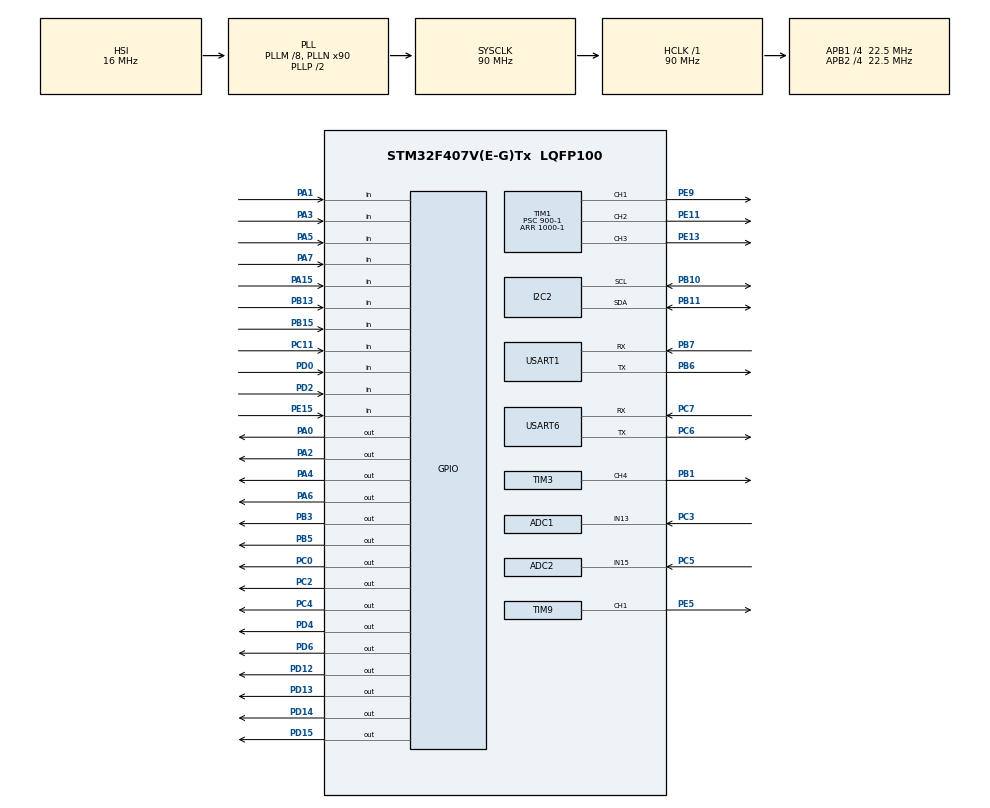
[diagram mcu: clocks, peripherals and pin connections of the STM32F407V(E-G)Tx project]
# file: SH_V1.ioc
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ADC1.Channel-0\#ChannelRegularConversion=ADC_CHANNEL_13
ADC1.NbrOfConversionFlag=1
ADC1.Rank-0\#ChannelRegularConversion=1
ADC1.SamplingTime-0\#ChannelRegularConversion=ADC_SAMPLETIME_3CYCLES
ADC1.master=1
ADC2.Channel-0\#ChannelRegularConversion=ADC_CHANNEL_15
ADC2.NbrOfConversionFlag=1
ADC2.Rank-0\#ChannelRegularConversion=1
ADC2.SamplingTime-0\#ChannelRegularConversion=ADC_SAMPLETIME_3CYCLES
FREERTOS.Tasks01=defaultTask,24,256,StartDefaultTask,Default,NULL,Dynamic,NULL,NULL;myTask02,10,128,StartTask02Function,Default,NULL,Dynamic,NULL,NULL;myTask03,9,128,StartTask03Function,Default,NULL,Dynamic,NULL,NULL;myTask04,8,128,StartTask04Function,Default,NULL,Dynamic,NULL,NULL;myTask05,8,128,StartTask05Function,Default,NULL,Dynamic,NULL,NULL;myTask06,8,128,StartTask06Function,Default,NULL,Dynamic,NULL,NULL
IWDG.Prescaler=IWDG_PRESCALER_64
IWDG.Reload=1499
Mcu.Family=STM32F4
Mcu.Name=STM32F407V(E-G)Tx
Mcu.Package=LQFP100
NVIC.PriorityGroup=NVIC_PRIORITYGROUP_4
NVIC.TIM1_UP_TIM10_IRQn=true\:0\:0\:false\:false\:true\:false\:false\:true
NVIC.TimeBase=TIM1_UP_TIM10_IRQn
NVIC.TimeBaseIP=TIM10
NVIC.USART1_IRQn=true\:8\:0\:true\:false\:true\:true\:true\:true
NVIC.USART6_IRQn=true\:5\:0\:true\:false\:true\:true\:true\:true
PA0-WKUP.Signal=GPIO_Output
PA1.Signal=GPIO_Input
PA13.Mode=Serial_Wire
PA13.Signal=SYS_JTMS-SWDIO
PA14.Mode=Serial_Wire
PA14.Signal=SYS_JTCK-SWCLK
PA15.GPIO_PuPd=GPIO_PULLUP
PA15.Signal=GPIO_Input
PA2.Signal=GPIO_Output
PA3.Signal=GPIO_Input
PA4.Signal=GPIO_Output
PA5.Signal=GPIO_Input
PA6.Signal=GPIO_Output
PA7.Signal=GPIO_Input
PB1.Signal=S_TIM3_CH4
PB10.Mode=I2C
PB10.Signal=I2C2_SCL
PB11.Mode=I2C
PB11.Signal=I2C2_SDA
PB13.Signal=GPIO_Input
PB15.Signal=GPIO_Input
PB3.Signal=GPIO_Output
PB5.Signal=GPIO_Output
PB6.Mode=Asynchronous
PB6.Signal=USART1_TX
PB7.Mode=Asynchronous
PB7.Signal=USART1_RX
PC0.Signal=GPIO_Output
PC11.GPIO_PuPd=GPIO_PULLUP
PC11.Signal=GPIO_Input
PC2.Signal=GPIO_Output
PC3.Signal=ADCx_IN13
PC4.Signal=GPIO_Output
PC5.Signal=ADCx_IN15
PC6.GPIO_PuPd=GPIO_PULLUP
PC6.Mode=Asynchronous
PC6.Signal=USART6_TX
PC7.GPIO_PuPd=GPIO_PULLUP
PC7.Mode=Asynchronous
PC7.Signal=USART6_RX
PD0.GPIO_PuPd=GPIO_PULLUP
PD0.Signal=GPIO_Input
PD12.Signal=GPIO_Output
PD13.Signal=GPIO_Output
PD14.Signal=GPIO_Output
PD15.Signal=GPIO_Output
PD2.GPIO_PuPd=GPIO_PULLUP
PD2.Signal=GPIO_Input
PD4.Signal=GPIO_Output
PD6.Signal=GPIO_Output
PE11.Signal=S_TIM1_CH2
PE13.Signal=S_TIM1_CH3
PE15.Signal=GPIO_Input
PE5.Signal=S_TIM9_CH1
PE9.Signal=S_TIM1_CH1
PH0-OSC_IN.Mode=HSE-External-Oscillator
PH0-OSC_IN.Signal=RCC_OSC_IN
PH1-OSC_OUT.Mode=HSE-External-Oscillator
PH1-OSC_OUT.Signal=RCC_OSC_OUT
ProjectManager.HeapSize=0x200
ProjectManager.StackSize=0x400
ProjectManager.TargetToolchain=MDK-ARM V5.27
RCC.48MHZClocksFreq_Value=45000000
RCC.AHBFreq_Value=90000000
RCC.APB1CLKDivider=RCC_HCLK_DIV4
RCC.APB1Freq_Value=22500000
RCC.APB1TimFreq_Value=45000000
RCC.APB2CLKDivider=RCC_HCLK_DIV4
RCC.APB2Freq_Value=22500000
RCC.APB2TimFreq_Value=45000000
RCC.CortexFreq_Value=90000000
RCC.HCLKFreq_Value=90000000
RCC.HSE_VALUE=25000000
RCC.HSI_VALUE=16000000
RCC.LSE_VALUE=32768
RCC.PLLM=8
RCC.PLLN=90
RCC.SYSCLKFreq_VALUE=90000000
RCC.SYSCLKSource=RCC_SYSCLKSOURCE_PLLCLK
RCC.VCOOutputFreq_Value=180000000
SH.ADCx_IN13.0=ADC1_IN13,IN13
SH.ADCx_IN15.0=ADC2_IN15,IN15
SH.S_TIM1_CH1.0=TIM1_CH1,PWM Generation1 CH1
SH.S_TIM1_CH2.0=TIM1_CH2,PWM Generation2 CH2
SH.S_TIM1_CH3.0=TIM1_CH3,PWM Generation3 CH3
SH.S_TIM3_CH4.0=TIM3_CH4,PWM Generation4 CH4
SH.S_TIM9_CH1.0=TIM9_CH1,PWM Generation1 CH1
TIM1.Channel-PWM\ Generation1\ CH1=TIM_CHANNEL_1
TIM1.Channel-PWM\ Generation2\ CH2=TIM_CHANNEL_2
TIM1.Channel-PWM\ Generation3\ CH3=TIM_CHANNEL_3
TIM1.Period=1000-1
TIM1.Prescaler=900-1
TIM3.Channel-PWM\ Generation4\ CH4=TIM_CHANNEL_4
TIM3.Period=1000-1
TIM3.Prescaler=900-1
TIM9.Channel-PWM\ Generation1\ CH1=TIM_CHANNEL_1
TIM9.Period=255-1
TIM9.Prescaler=692-1
USART1.VirtualMode=VM_ASYNC
USART6.VirtualMode=VM_ASYNC
VP_FREERTOS_VS_CMSIS_V2.Mode=CMSIS_V2
VP_IWDG_VS_IWDG.Mode=IWDG_Activate
VP_SYS_VS_tim10.Mode=TIM10
board=custom

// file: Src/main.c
/* USER CODE BEGIN Header */
/**
  ******************************************************************************
  * @file           : main.c
  * @brief          : Main program body
  ******************************************************************************
  * @attention
  *
  * <h2><center>&copy; Copyright (c) 2021 STMicroelectronics.
  * All rights reserved.</center></h2>
  *
  * This software component is licensed by ST under BSD 3-Clause license,
  * the "License"; You may not use this file except in compliance with the
  * License. You may obtain a copy of the License at:
  *                        opensource.org/licenses/BSD-3-Clause
  *
  ******************************************************************************
  */
/* USER CODE END Header */

#include "main.h"
#include "cmsis_os.h"

/* USER CODE BEGIN Includes */
#include "string.h"
#include "stdio.h"
#include "stdbool.h"
#include "math.h"

#include "dht11.h"
#include "lcd_i2c.h"
#include "music.h"
#include "servo.h"
#include "hall.h"
/* USER CODE END Includes */

/* USER CODE BEGIN PD */
#define ON GPIO_PIN_SET
#define OFF GPIO_PIN_RESET

#define BATHROOM_LIGHT_PORT			GPIOC
#define BATHROOM_LIGHT_PIN 			GPIO_PIN_4

#define KITCHEN_LIGHT_PORT			GPIOA
#define KITCHEN_LIGHT_PIN 			GPIO_PIN_2

#define KITCHEN_FAN_PORT				GPIOC
#define KITCHEN_FAN_PIN 				GPIO_PIN_0

#define KITCHEN_WINDOW_PIN 			1

#define BEDROOM_LIGHT_PORT			GPIOA
#define BEDROOM_LIGHT_PIN 			GPIO_PIN_4

#define BEDROOM_FAN_PORT				GPIOC
#define BEDROOM_FAN_PIN 				GPIO_PIN_2

#define BEDROOM_WINDOW_PIN 			2

#define LIVINGROOM_LIGHT_PORT		GPIOA
#define LIVINGROOM_LIGHT_PIN 		GPIO_PIN_6

#define LIVINGROOM_GARAGELIGHT_PORT		GPIOA
#define LIVINGROOM_GARAGELIGHT_PIN 		GPIO_PIN_0

#define DRYINGPOLE_PIN		3
#define GATE_PIN					4

#define GAS_THRESH 10

#define txBuf_size 30
#define rxBuf_size 50

#define R1_PORT GPIOB
#define R1_PIN 	GPIO_PIN_5

#define R2_PORT GPIOB
#define R2_PIN 	GPIO_PIN_3

#define R3_PORT GPIOD
#define R3_PIN 	GPIO_PIN_6

#define R4_PORT GPIOD
#define R4_PIN 	GPIO_PIN_4

#define C1_PORT GPIOD
#define C1_PIN 	GPIO_PIN_2

#define C2_PORT GPIOD
#define C2_PIN 	GPIO_PIN_0

#define C3_PORT GPIOC
#define C3_PIN 	GPIO_PIN_11

#define C4_PORT GPIOA
#define C4_PIN 	GPIO_PIN_15

char rxBuf[rxBuf_size];

char rxBuf_receive[2];
uint16_t rx_Index = 0;
char temp_receive[rxBuf_size];

char data_GAS_char[12];
float gas_in_ppm = 0;

char data_PIR_char[6] ;
char pir_char[6];
bool pir_bool_old = 0;

char data_RAIN_char[7];
char rain_char[7];
bool rain_bool_old = 0;

char data_FLAME_char[8];
char flame_char[8];
bool flame_bool_old = 0;

unsigned char data_dht11[4];
char data_dht11_char[15];

char debug_char[10];
char function_key;
char password_key;
char password_setup[8] = "12345678";
char password_input[8];
char password_new[8];
char password_new_confirm[8];
char password_update_firebase[18];
char password_receive[8];
void change_password();

int i = 0;

uint32_t current_value_main = 0;
char data_HALL_char[20];

long timeout_to_send_gasvalue		= 0;
long timeout_to_send_dht11value = 0;
long timeout_to_send_flamevalue = 0;
long timeout_to_send_rainvalue 	= 0;
long timeout_to_send_pirvalue 	= 0;
long timeout_to_send_hallvalue 	= 0;

/* USER CODE END PD */

ADC_HandleTypeDef hadc1;
ADC_HandleTypeDef hadc2;

I2C_HandleTypeDef hi2c2;

IWDG_HandleTypeDef hiwdg;

TIM_HandleTypeDef htim1;
TIM_HandleTypeDef htim3;
TIM_HandleTypeDef htim9;

UART_HandleTypeDef huart1;
UART_HandleTypeDef huart6;

/* Definitions for defaultTask */
osThreadId_t defaultTaskHandle;
const osThreadAttr_t defaultTask_attributes = {
  .name = "defaultTask",
  .priority = (osPriority_t) osPriorityNormal,
  .stack_size = 256 * 4
};
/* Definitions for myTask02 */
osThreadId_t myTask02Handle;
const osThreadAttr_t myTask02_attributes = {
  .name = "myTask02",
  .priority = (osPriority_t) osPriorityLow2,
  .stack_size = 128 * 4
};
/* Definitions for myTask03 */
osThreadId_t myTask03Handle;
const osThreadAttr_t myTask03_attributes = {
  .name = "myTask03",
  .priority = (osPriority_t) osPriorityLow1,
  .stack_size = 128 * 4
};
/* Definitions for myTask04 */
osThreadId_t myTask04Handle;
const osThreadAttr_t myTask04_attributes = {
  .name = "myTask04",
  .priority = (osPriority_t) osPriorityLow,
  .stack_size = 128 * 4
};
/* Definitions for myTask05 */
osThreadId_t myTask05Handle;
const osThreadAttr_t myTask05_attributes = {
  .name = "myTask05",
  .priority = (osPriority_t) osPriorityLow,
  .stack_size = 128 * 4
};
/* Definitions for myTask06 */
osThreadId_t myTask06Handle;
const osThreadAttr_t myTask06_attributes = {
  .name = "myTask06",
  .priority = (osPriority_t) osPriorityLow,
  .stack_size = 128 * 4
};

void SystemClock_Config(void);
static void MX_GPIO_Init(void);
static void MX_ADC1_Init(void);
static void MX_ADC2_Init(void);
static void MX_I2C2_Init(void);
static void MX_TIM1_Init(void);
static void MX_TIM3_Init(void);
static void MX_TIM9_Init(void);
static void MX_USART6_UART_Init(void);
static void MX_USART1_UART_Init(void);
static void MX_IWDG_Init(void);
void StartDefaultTask(void *argument);
void StartTask02Function(void *argument);
void StartTask03Function(void *argument);
void StartTask04Function(void *argument);
void StartTask05Function(void *argument);
void StartTask06Function(void *argument);

/* USER CODE BEGIN 0 */
void serial_send_cmd(char data[]){
		char line[txBuf_size];
		snprintf(line, sizeof(line), "%s\r\n", data);
		HAL_UART_Transmit(&huart1, (uint8_t*)line, strlen(line) , 100);
}

char* serial_read(){
	strcpy(temp_receive, rxBuf);
	return temp_receive;
}

void control_light	(char room[], bool state){
	if(strcmp(room,"Bathroom") == 0){
		if(state == ON){
			HAL_GPIO_WritePin(BATHROOM_LIGHT_PORT, BATHROOM_LIGHT_PIN, ON);
		}else if(state == OFF){
			HAL_GPIO_WritePin(BATHROOM_LIGHT_PORT, BATHROOM_LIGHT_PIN, OFF);
		}
	}
	if(strcmp(room,"Kitchen") == 0){
		if(state == ON){
			HAL_GPIO_WritePin(KITCHEN_LIGHT_PORT, KITCHEN_LIGHT_PIN, ON);
		}else if(state == OFF){
			HAL_GPIO_WritePin(KITCHEN_LIGHT_PORT, KITCHEN_LIGHT_PIN, OFF);
		}
	}
	if(strcmp(room,"Bedroom") == 0){
		if(state == ON){
			HAL_GPIO_WritePin(BEDROOM_LIGHT_PORT, BEDROOM_LIGHT_PIN, ON);
		}else if(state == OFF){
			HAL_GPIO_WritePin(BEDROOM_LIGHT_PORT, BEDROOM_LIGHT_PIN, OFF);
		}
	}
	if(strcmp(room,"Livingroom") == 0){
		if(state == ON){
			HAL_GPIO_WritePin(LIVINGROOM_LIGHT_PORT, LIVINGROOM_LIGHT_PIN, ON);
		}else if(state == OFF){
			HAL_GPIO_WritePin(LIVINGROOM_LIGHT_PORT, LIVINGROOM_LIGHT_PIN, OFF);
		}
	}
	if(strcmp(room,"Garage") == 0){
		if(state == ON){
			HAL_GPIO_WritePin(LIVINGROOM_GARAGELIGHT_PORT, LIVINGROOM_GARAGELIGHT_PIN, ON);
		}else if(state == OFF){
			HAL_GPIO_WritePin(LIVINGROOM_GARAGELIGHT_PORT, LIVINGROOM_GARAGELIGHT_PIN, OFF);
		}
	}
}

void control_fan		(char room[], bool state){
	if(strcmp(room,"Bedroom") == 0){
		if(state == ON){
			HAL_GPIO_WritePin(BEDROOM_FAN_PORT, BEDROOM_FAN_PIN, ON);
		}else if(state == OFF){
			HAL_GPIO_WritePin(BEDROOM_FAN_PORT, BEDROOM_FAN_PIN, OFF);
		}
	}
	else if(strcmp(room,"Kitchen") == 0){
		if(state == ON){
			HAL_GPIO_WritePin(KITCHEN_FAN_PORT, KITCHEN_FAN_PIN, ON);
		}else if(state == OFF){
			HAL_GPIO_WritePin(KITCHEN_FAN_PORT, KITCHEN_FAN_PIN, OFF);
		}
	}
}

void control_window	(char room[], bool state){
	if(strcmp(room,"Bedroom") == 0){
		if(state == ON){
			servo_position(BEDROOM_WINDOW_PIN, 90);
			HAL_Delay(500);
		}else if(state == OFF){
			servo_position(BEDROOM_WINDOW_PIN, 0);
			HAL_Delay(500);
		}
	}
	else if(strcmp(room,"Kitchen") == 0){
		if(state == ON){
			servo_position(KITCHEN_WINDOW_PIN, 90);
		}else if(state == OFF){
			servo_position(KITCHEN_WINDOW_PIN, 0);
		}
	}
}

void control_homescreen(char device[], bool state){
	if(strcmp(device,"bell") == 0){
		if(state == ON){
			music_play(500);
		}else if(state == OFF){
			music_stop();
		}
	}
	if(strcmp(device,"dryingpole") == 0){
		if(state == ON){
			servo_position(DRYINGPOLE_PIN, 90);
		}else if(state == OFF){
			servo_position(DRYINGPOLE_PIN, 0);
		}
	}
	if(strcmp(device,"gate") == 0){
		if(state == ON){
			servo_position(GATE_PIN, 90);
		}else if(state == OFF){
			servo_position(GATE_PIN, 0);
		}
	}
	if(strcmp(device,"smartlight") == 0){
		if(state == ON){
			control_light("Livingroom",ON);
		}else if(state == OFF){
			control_light("Livingroom",OFF);
		}
	}

}

void control_home(){
	char temp[2];
	serial_read();

	if(strncmp(temp_receive,"Bathroom/light",14) == 0){
		temp[0] = temp_receive[15];
		if(temp[0] == 'T'){
			control_light("Bathroom",ON);
		}else if(temp[0] == 'F'){
			control_light("Bathroom", OFF);
		}
	}
	if(strncmp(temp_receive,"Bedroom/light",13) == 0){
		temp[0] = temp_receive[14];
		if(temp[0] == 'T'){
			control_light("Bedroom",ON);
		}else if(temp[0] == 'F'){
			control_light("Bedroom", OFF);
		}
	}
	if(strncmp(temp_receive,"Bedroom/window",14) == 0){
		temp[0] = temp_receive[15];
		if(temp[0] == 'T'){
			control_window("Bedroom",ON);
		}else if(temp[0] == 'F'){
			control_window("Bedroom",OFF);
		}
	}
	if(strncmp(temp_receive,"Bedroom/fan",11) == 0){
		temp[0] = temp_receive[12];
		if(temp[0] == 'T'){
			control_fan("Bedroom",ON);
		}else if(temp[0] == 'F'){
			control_fan("Bedroom",OFF);
		}
	}
	if(strncmp(temp_receive,"Homescreen/bell",15) == 0){
		temp[0] = temp_receive[16];
		if(temp[0] == 'T'){
			control_homescreen("bell",ON);
		}else if(temp[0] == 'F'){
			control_homescreen("bell",OFF);
		}
	}
	if(strncmp(temp_receive,"Homescreen/dryingpole",21) == 0){
		temp[0] = temp_receive[22];
		if(temp[0] == 'T'){
			control_homescreen("dryingpole",ON);
			strcpy(rxBuf,"");
		}else if(temp[0] == 'F'){
			control_homescreen("dryingpole",OFF);
			strcpy(rxBuf,"");
		}
	}
	if(strncmp(temp_receive,"Homescreen/gate",15) == 0){
		temp[0] = temp_receive[16];
		if(temp[0] == 'T'){
			control_homescreen("gate",ON);
		}else if(temp[0] == 'F'){
			control_homescreen("gate",OFF);
		}
	}
	if(strncmp(temp_receive,"Homescreen/smartlight",21) == 0){
		temp[0] = temp_receive[22];
		if(temp[0] == 'T'){
			control_homescreen("smartlight",ON);

			strcpy(rxBuf,"");
		}else if(temp[0] == 'F'){
			control_homescreen("smartlight",OFF);

			strcpy(rxBuf,"");
		}
	}
	if(strncmp(temp_receive,"Kitchen/fan",11) == 0){
		temp[0] = temp_receive[12];
		if(temp[0] == 'T'){
			control_fan("Kitchen",ON);
		}else if(temp[0] == 'F'){
			control_fan("Kitchen",OFF);
		}
	}
	if(strncmp(temp_receive,"Kitchen/light",13) == 0){
		temp[0] = temp_receive[14];
		if(temp[0] == 'T'){
			control_light("Kitchen",ON);
		}else if(temp[0] == 'F'){
			control_light("Kitchen",OFF);
		}
	}
	if(strncmp(temp_receive,"Kitchen/window",14) == 0){
		temp[0] = temp_receive[15];
		if(temp[0] == 'T'){
			control_window("Kitchen",ON);
		}else if(temp[0] == 'F'){
			control_window("Kitchen",OFF);
		}
	}
	if(strncmp(temp_receive,"Livingroom/garagelight",22) == 0){
		temp[0] = temp_receive[23];
		if(temp[0] == 'T'){
			control_light("Garage",ON);
		}else if(temp[0] == 'F'){
			control_light("Garage",OFF);
		}
	}
}

void HAL_UART_RxCpltCallback(UART_HandleTypeDef *UartHandle){
  /* Prevent unused argument(s) compilation warning */
	if(UartHandle->Instance==USART6){
		if (rx_Index == 0){
			for(int i = 0; i < rxBuf_size; i++){
				rxBuf[i] = 0;
			}
			//strcpy(rxBuf,"");
		}
		if (rxBuf_receive[0] != '\n'){
			rxBuf[rx_Index]=rxBuf_receive[0];
			rx_Index++;
		}
		else{
			strcpy(temp_receive,rxBuf);
			HAL_GPIO_TogglePin(GPIOD,GPIO_PIN_12);
			rx_Index = 0;
		}
	}
  HAL_UART_Receive_IT(&huart6 , (uint8_t*)rxBuf_receive, 1);
}

/***********************FUNCTION FOR READING SENSOR*******************/
float read_gas_ppm(){
	float gas_value_inVolts = 0.0;
	double ppm_in_log;
	float ppm;

	HAL_ADC_Start(&hadc1);
	HAL_Delay(100);
	gas_value_inVolts = HAL_ADC_GetValue(&hadc1);
	HAL_ADC_Stop(&hadc1);
	gas_value_inVolts = 5*gas_value_inVolts/4095;

	ppm_in_log = (log10(((5 - gas_value_inVolts)/gas_value_inVolts)/0.1260) - 1.2908)/(-0.461);

	ppm = pow(10,ppm_in_log);

	return ppm;
}

int read_HALL(){

	uint16_t HALL_value;

	HAL_ADC_Start(&hadc2);
	HAL_Delay(100);
	HALL_value = HAL_ADC_GetValue(&hadc2);
	HAL_ADC_Stop(&hadc2);

	return HALL_value;

}
char* read_rain_char(){
	bool rain_bool;
	rain_bool = !HAL_GPIO_ReadPin(GPIOA, GPIO_PIN_1);
	snprintf(rain_char,sizeof(rain_char),"RAIN %d",rain_bool);

  return rain_char; //IT'S CAN RETURN GLOBAL VARIABLE ONLY
}
char* read_pir_char(){
	bool pir_bool;
	pir_bool = HAL_GPIO_ReadPin(GPIOA, GPIO_PIN_7);
	snprintf(pir_char,sizeof(pir_char),"PIR %d",pir_bool);

  return pir_char; //IT'S CAN RETURN GLOBAL VARIABLE ONLY
}
char* read_flame_char(){
	bool flame_bool;
	flame_bool = !HAL_GPIO_ReadPin(GPIOA, GPIO_PIN_3);
	snprintf(flame_char,sizeof(flame_char),"FLAME %d",flame_bool);

  return flame_char; //IT'S CAN RETURN GLOBAL VARIABLE ONLY
}
char read_keypad (void){

	/* Make ROW 1 LOW and all other ROWs HIGH */
	HAL_GPIO_WritePin (R1_PORT, R1_PIN, GPIO_PIN_RESET);  //Pull the R1 low
	HAL_GPIO_WritePin (R2_PORT, R2_PIN, GPIO_PIN_SET);  // Pull the R2 High
	HAL_GPIO_WritePin (R3_PORT, R3_PIN, GPIO_PIN_SET);  // Pull the R3 High
	HAL_GPIO_WritePin (R4_PORT, R4_PIN, GPIO_PIN_SET);  // Pull the R4 High

	if (!(HAL_GPIO_ReadPin (C1_PORT, C1_PIN)))   // if the Col 1 is low
	{
		HAL_Delay(20);
		if (!(HAL_GPIO_ReadPin (C1_PORT, C1_PIN))){
			while (!(HAL_GPIO_ReadPin (C1_PORT, C1_PIN)));   // wait till the button is pressed
			return '1';
		}
	}

	if (!(HAL_GPIO_ReadPin (C2_PORT, C2_PIN)))   // if the Col 2 is low
	{
		while (!(HAL_GPIO_ReadPin (C2_PORT, C2_PIN)));   // wait till the button is pressed
		return '2';
	}

	if (!(HAL_GPIO_ReadPin (C3_PORT, C3_PIN)))   // if the Col 3 is low
	{
		while (!(HAL_GPIO_ReadPin (C3_PORT, C3_PIN)));   // wait till the button is pressed
		return '3';
	}

	if (!(HAL_GPIO_ReadPin (C4_PORT, C4_PIN)))   // if the Col 4 is low
	{
		while (!(HAL_GPIO_ReadPin (C4_PORT, C4_PIN)));   // wait till the button is pressed
		return 'A';
	}

	/* Make ROW 2 LOW and all other ROWs HIGH */
	HAL_GPIO_WritePin (R1_PORT, R1_PIN, GPIO_PIN_SET);  //Pull the R1 low
	HAL_GPIO_WritePin (R2_PORT, R2_PIN, GPIO_PIN_RESET);  // Pull the R2 High
	HAL_GPIO_WritePin (R3_PORT, R3_PIN, GPIO_PIN_SET);  // Pull the R3 High
	HAL_GPIO_WritePin (R4_PORT, R4_PIN, GPIO_PIN_SET);  // Pull the R4 High

	if (!(HAL_GPIO_ReadPin (C1_PORT, C1_PIN)))   // if the Col 1 is low
	{
		while (!(HAL_GPIO_ReadPin (C1_PORT, C1_PIN)));   // wait till the button is pressed
		return '4';
	}

	if (!(HAL_GPIO_ReadPin (C2_PORT, C2_PIN)))   // if the Col 2 is low
	{
		while (!(HAL_GPIO_ReadPin (C2_PORT, C2_PIN)));   // wait till the button is pressed
		return '5';
	}

	if (!(HAL_GPIO_ReadPin (C3_PORT, C3_PIN)))   // if the Col 3 is low
	{
		while (!(HAL_GPIO_ReadPin (C3_PORT, C3_PIN)));   // wait till the button is pressed
		return '6';
	}

	if (!(HAL_GPIO_ReadPin (C4_PORT, C4_PIN)))   // if the Col 4 is low
	{
		while (!(HAL_GPIO_ReadPin (C4_PORT, C4_PIN)));   // wait till the button is pressed
		return 'B';
	}

	/* Make ROW 3 LOW and all other ROWs HIGH */
	HAL_GPIO_WritePin (R1_PORT, R1_PIN, GPIO_PIN_SET);  //Pull the R1 low
	HAL_GPIO_WritePin (R2_PORT, R2_PIN, GPIO_PIN_SET);  // Pull the R2 High
	HAL_GPIO_WritePin (R3_PORT, R3_PIN, GPIO_PIN_RESET);  // Pull the R3 High
	HAL_GPIO_WritePin (R4_PORT, R4_PIN, GPIO_PIN_SET);  // Pull the R4 High

	if (!(HAL_GPIO_ReadPin (C1_PORT, C1_PIN)))   // if the Col 1 is low
	{
		while (!(HAL_GPIO_ReadPin (C1_PORT, C1_PIN)));   // wait till the button is pressed
		return '7';
	}

	if (!(HAL_GPIO_ReadPin (C2_PORT, C2_PIN)))   // if the Col 2 is low
	{
		while (!(HAL_GPIO_ReadPin (C2_PORT, C2_PIN)));   // wait till the button is pressed
		return '8';
	}

	if (!(HAL_GPIO_ReadPin (C3_PORT, C3_PIN)))   // if the Col 3 is low
	{
		while (!(HAL_GPIO_ReadPin (C3_PORT, C3_PIN)));   // wait till the button is pressed
		return '9';
	}

	if (!(HAL_GPIO_ReadPin (C4_PORT, C4_PIN)))   // if the Col 4 is low
	{
		while (!(HAL_GPIO_ReadPin (C4_PORT, C4_PIN)));   // wait till the button is pressed
		return 'C';
	}

	/* Make ROW 4 LOW and all other ROWs HIGH */
	HAL_GPIO_WritePin (R1_PORT, R1_PIN, GPIO_PIN_SET);  //Pull the R1 low
	HAL_GPIO_WritePin (R2_PORT, R2_PIN, GPIO_PIN_SET);  // Pull the R2 High
	HAL_GPIO_WritePin (R3_PORT, R3_PIN, GPIO_PIN_SET);  // Pull the R3 High
	HAL_GPIO_WritePin (R4_PORT, R4_PIN, GPIO_PIN_RESET);  // Pull the R4 High

	if (!(HAL_GPIO_ReadPin (C1_PORT, C1_PIN)))   // if the Col 1 is low
	{
		while (!(HAL_GPIO_ReadPin (C1_PORT, C1_PIN)));   // wait till the button is pressed
		return '*';
	}

	if (!(HAL_GPIO_ReadPin (C2_PORT, C2_PIN)))   // if the Col 2 is low
	{
		while (!(HAL_GPIO_ReadPin (C2_PORT, C2_PIN)));   // wait till the button is pressed
		return '0';
	}

	if (!(HAL_GPIO_ReadPin (C3_PORT, C3_PIN)))   // if the Col 3 is low
	{
		while (!(HAL_GPIO_ReadPin (C3_PORT, C3_PIN)));   // wait till the button is pressed
		return '#';
	}

	if (!(HAL_GPIO_ReadPin (C4_PORT, C4_PIN)))   // if the Col 4 is low
	{
		while (!(HAL_GPIO_ReadPin (C4_PORT, C4_PIN)));   // wait till the button is pressed
		return 'D';
	}
	return NULL;
}

void verify_password(){
	password_key = read_keypad();
	HAL_Delay(10);
	if(password_key == 'A'){
		LCD_Clear();
		LCD_SetCursor(2,1);
		LCD_Send_String("   ENTER PASSWORD   ",STR_NOSLIDE);
		LCD_SetCursor(3,6);
		i = 0;
		password_key = NULL;
	}
	if(password_key != 'A' && password_key != 'B'){
		if(password_key){
			password_input[i] = password_key;
			LCD_Send_String("*",STR_NOSLIDE);
			i++;
		}
	}
	if(i == 8){
		if(strncmp(password_input, password_setup, 8) == 0){
			LCD_Clear();
			LCD_SetCursor(2,4);
			LCD_Send_String("ACCESS GRANTED",STR_NOSLIDE);
			HAL_Delay(2000);
			servo_position(GATE_PIN,90);
			LCD_Clear();
			LCD_SetCursor(2,1);
			LCD_Send_String("   Good day Hieu!   ",STR_NOSLIDE);
			HAL_Delay(2000);
			LCD_SetCursor(3,6);
			i = 0;
		}
		else {
			LCD_Clear();
			LCD_SetCursor(2,4);
			LCD_Send_String("ACCESS DENIED!",STR_NOSLIDE);
			servo_position(GATE_PIN,0);
			HAL_Delay(2000);
			LCD_Clear();
			LCD_SetCursor(2,1);
			LCD_Send_String("   ENTER PASSWORD   ",STR_NOSLIDE);
			LCD_SetCursor(3,6);
			i = 0;
		}
	}
}

void change_password(){
	int j = 0;
	LCD_Clear();
	LCD_SetCursor(2,1);
	LCD_Send_String(" ENTER OLD PASSWORD ",STR_NOSLIDE);
	LCD_SetCursor(3,6);
	while( j < 8){
		char passwordkey_change =  read_keypad();
		HAL_Delay(10);
		if (passwordkey_change){
			password_input[j] = passwordkey_change;
			LCD_Send_String("*",STR_NOSLIDE);
			j++;
		}
		passwordkey_change = 0;
	}
	if(strncmp(password_input,password_setup,8) == 0){
		j = 0;
		LCD_Clear();
		LCD_SetCursor(2,1);
		LCD_Send_String(" ENTER NEW PASSWORD ",STR_NOSLIDE);
		LCD_SetCursor(3,6);
		while (j < 8){
			char passwordkey_change =  read_keypad();
			HAL_Delay(10);
			if(passwordkey_change){
				password_new[j] = passwordkey_change;
				LCD_Send_String("*",STR_NOSLIDE);
				j++;
			}
		}
		j = 0;
		LCD_Clear();
		LCD_SetCursor(2,1);
		LCD_Send_String("CONFIRM NEW PASSWORD",STR_NOSLIDE);
		LCD_SetCursor(3,6);
		while (j < 8){
			char passwordkey_change =  read_keypad();
			HAL_Delay(10);
			if(passwordkey_change){
				password_new_confirm[j] = passwordkey_change;
				LCD_Send_String("*",STR_NOSLIDE);
				j++;
			}
		}
		if(strncmp(password_new,password_new_confirm,8) == 0){
			strcpy(password_setup,password_new);

			snprintf(password_update_firebase,sizeof(password_update_firebase),"password %s",password_setup);
			serial_send_cmd(password_update_firebase);

			LCD_Clear();
			LCD_SetCursor(2,1);
			LCD_Send_String("  PASSWORD CHANGED  ",STR_NOSLIDE);
			HAL_Delay(2000);

			LCD_Clear();
			LCD_SetCursor(2,1);
			LCD_Send_String("   ENTER PASSWORD  ",STR_NOSLIDE);
			LCD_SetCursor(3,6);
		}else{
			LCD_Clear();
			LCD_SetCursor(2,1);
			LCD_Send_String("PASSWORD NOT MATCHED",STR_NOSLIDE);
			HAL_Delay(2000);

			LCD_Clear();
			LCD_SetCursor(2,1);
			LCD_Send_String("   ENTER PASSWORD  ",STR_NOSLIDE);
			LCD_SetCursor(3,6);
		}
	}
	else{
		LCD_Clear();
		LCD_SetCursor(2,1);
		LCD_Send_String("   WRONG PASSWORD   ",STR_NOSLIDE);
		LCD_SetCursor(3,1);
		LCD_Send_String("     TRY AGAIN!     ",STR_NOSLIDE);
		HAL_Delay(2000);

		LCD_Clear();
		LCD_SetCursor(2,1);
		LCD_Send_String("   ENTER PASSWORD  ",STR_NOSLIDE);
		LCD_SetCursor(3,6);
	}
}
void automation_home(){
	bool pir_state = HAL_GPIO_ReadPin(GPIOA, GPIO_PIN_7);
	bool rain_state = !HAL_GPIO_ReadPin(GPIOA, GPIO_PIN_1);
	//PIR Sensor
	if(pir_state == true){
		control_light("Livingroom",ON);
		HAL_Delay(100);
		serial_send_cmd("Homescreen smartlight ON");
		HAL_Delay(500);
	}

	//RAIN Sensor
	if (rain_state == true){
		servo_position(DRYINGPOLE_PIN, 0);
		serial_send_cmd("Homescreen dryingpole OFF");
		HAL_Delay(500);
	}

	//GAS and FLAME Sensor
	if ( (read_gas_ppm() > GAS_THRESH) || (!HAL_GPIO_ReadPin(GPIOA, GPIO_PIN_3)) ){
		music_play(850);
		control_window("Kitchen", ON);
	}else {
		music_stop();
	}

}

void receive_password_from_firebase(){
	serial_read();
	if(strncmp(temp_receive,"password",8) == 0){
		strncpy(password_setup,&temp_receive[9],8);
	}
}
/* USER CODE END 0 */

int main(void)
{

  /* MCU Configuration--------------------------------------------------------*/

  /* Reset of all peripherals, Initializes the Flash interface and the Systick. */
  HAL_Init();

  /* Configure the system clock */
  SystemClock_Config();

  /* Initialize all configured peripherals */
  MX_GPIO_Init();
  MX_ADC1_Init();
  MX_ADC2_Init();
  MX_I2C2_Init();
  MX_TIM1_Init();
  MX_TIM3_Init();
  MX_TIM9_Init();
  MX_USART6_UART_Init();
  MX_USART1_UART_Init();
  MX_IWDG_Init();
  /* USER CODE BEGIN 2 */
	music_Init();
	servo_Init();

	LCD_Init();
	LCD_i2cDeviceCheck();
	LCD_Clear();
	LCD_BackLight(LCD_BL_ON);
	LCD_SetCursor(1,1);
	LCD_Send_String("SMARTHOME PROJECT",STR_NOSLIDE);
	LCD_SetCursor(2,1);
	LCD_Send_String("SVTH: H.T.HIEU",STR_NOSLIDE);
	LCD_SetCursor(3,1);
	LCD_Send_String("MSSV: 1711277",STR_NOSLIDE);
	LCD_SetCursor(4,1);
	LCD_Send_String("GVHD: ThS. V.T.THONG",STR_NOSLIDE);

	HAL_UART_Receive_IT(&huart6 , (uint8_t*)rxBuf_receive, 1);

  /* USER CODE END 2 */

  /* Init scheduler */
  osKernelInitialize();

  /* Create the thread(s) */
  /* creation of defaultTask */
  defaultTaskHandle = osThreadNew(StartDefaultTask, NULL, &defaultTask_attributes);

  /* creation of myTask02 */
  myTask02Handle = osThreadNew(StartTask02Function, NULL, &myTask02_attributes);

  /* creation of myTask03 */
  myTask03Handle = osThreadNew(StartTask03Function, NULL, &myTask03_attributes);

  /* creation of myTask04 */
  myTask04Handle = osThreadNew(StartTask04Function, NULL, &myTask04_attributes);

  /* creation of myTask05 */
  myTask05Handle = osThreadNew(StartTask05Function, NULL, &myTask05_attributes);

  /* creation of myTask06 */
  myTask06Handle = osThreadNew(StartTask06Function, NULL, &myTask06_attributes);

  /* Start scheduler */
  osKernelStart();

  /* We should never get here as control is now taken by the scheduler */
  /* Infinite loop */
  while (1)
  {

  }
}

void SystemClock_Config(void)
{
  RCC_OscInitTypeDef RCC_OscInitStruct = {0};
  RCC_ClkInitTypeDef RCC_ClkInitStruct = {0};

  /** Configure the main internal regulator output voltage
  */
  __HAL_RCC_PWR_CLK_ENABLE();
  __HAL_PWR_VOLTAGESCALING_CONFIG(PWR_REGULATOR_VOLTAGE_SCALE1);
  /** Initializes the CPU, AHB and APB busses clocks
  */
  RCC_OscInitStruct.OscillatorType = RCC_OSCILLATORTYPE_HSI|RCC_OSCILLATORTYPE_LSI;
  RCC_OscInitStruct.HSIState = RCC_HSI_ON;
  RCC_OscInitStruct.HSICalibrationValue = RCC_HSICALIBRATION_DEFAULT;
  RCC_OscInitStruct.LSIState = RCC_LSI_ON;
  RCC_OscInitStruct.PLL.PLLState = RCC_PLL_ON;
  RCC_OscInitStruct.PLL.PLLSource = RCC_PLLSOURCE_HSI;
  RCC_OscInitStruct.PLL.PLLM = 8;
  RCC_OscInitStruct.PLL.PLLN = 90;
  RCC_OscInitStruct.PLL.PLLP = RCC_PLLP_DIV2;
  RCC_OscInitStruct.PLL.PLLQ = 4;
  if (HAL_RCC_OscConfig(&RCC_OscInitStruct) != HAL_OK)
  {
    Error_Handler();
  }
  /** Initializes the CPU, AHB and APB busses clocks
  */
  RCC_ClkInitStruct.ClockType = RCC_CLOCKTYPE_HCLK|RCC_CLOCKTYPE_SYSCLK
                              |RCC_CLOCKTYPE_PCLK1|RCC_CLOCKTYPE_PCLK2;
  RCC_ClkInitStruct.SYSCLKSource = RCC_SYSCLKSOURCE_PLLCLK;
  RCC_ClkInitStruct.AHBCLKDivider = RCC_SYSCLK_DIV1;
  RCC_ClkInitStruct.APB1CLKDivider = RCC_HCLK_DIV4;
  RCC_ClkInitStruct.APB2CLKDivider = RCC_HCLK_DIV4;

  if (HAL_RCC_ClockConfig(&RCC_ClkInitStruct, FLASH_LATENCY_2) != HAL_OK)
  {
    Error_Handler();
  }
}

static void MX_ADC1_Init(void)
{

  ADC_ChannelConfTypeDef sConfig = {0};

  /** Configure the global features of the ADC (Clock, Resolution, Data Alignment and number of conversion)
  */
  hadc1.Instance = ADC1;
  hadc1.Init.ClockPrescaler = ADC_CLOCK_SYNC_PCLK_DIV2;
  hadc1.Init.Resolution = ADC_RESOLUTION_12B;
  hadc1.Init.ScanConvMode = DISABLE;
  hadc1.Init.ContinuousConvMode = DISABLE;
  hadc1.Init.DiscontinuousConvMode = DISABLE;
  hadc1.Init.ExternalTrigConvEdge = ADC_EXTERNALTRIGCONVEDGE_NONE;
  hadc1.Init.ExternalTrigConv = ADC_SOFTWARE_START;
  hadc1.Init.DataAlign = ADC_DATAALIGN_RIGHT;
  hadc1.Init.NbrOfConversion = 1;
  hadc1.Init.DMAContinuousRequests = DISABLE;
  hadc1.Init.EOCSelection = ADC_EOC_SINGLE_CONV;
  if (HAL_ADC_Init(&hadc1) != HAL_OK)
  {
    Error_Handler();
  }
  /** Configure for the selected ADC regular channel its corresponding rank in the sequencer and its sample time.
  */
  sConfig.Channel = ADC_CHANNEL_13;
  sConfig.Rank = 1;
  sConfig.SamplingTime = ADC_SAMPLETIME_3CYCLES;
  if (HAL_ADC_ConfigChannel(&hadc1, &sConfig) != HAL_OK)
  {
    Error_Handler();
  }

}

static void MX_ADC2_Init(void)
{

  ADC_ChannelConfTypeDef sConfig = {0};

  /** Configure the global features of the ADC (Clock, Resolution, Data Alignment and number of conversion)
  */
  hadc2.Instance = ADC2;
  hadc2.Init.ClockPrescaler = ADC_CLOCK_SYNC_PCLK_DIV2;
  hadc2.Init.Resolution = ADC_RESOLUTION_12B;
  hadc2.Init.ScanConvMode = DISABLE;
  hadc2.Init.ContinuousConvMode = DISABLE;
  hadc2.Init.DiscontinuousConvMode = DISABLE;
  hadc2.Init.ExternalTrigConvEdge = ADC_EXTERNALTRIGCONVEDGE_NONE;
  hadc2.Init.ExternalTrigConv = ADC_SOFTWARE_START;
  hadc2.Init.DataAlign = ADC_DATAALIGN_RIGHT;
  hadc2.Init.NbrOfConversion = 1;
  hadc2.Init.DMAContinuousRequests = DISABLE;
  hadc2.Init.EOCSelection = ADC_EOC_SINGLE_CONV;
  if (HAL_ADC_Init(&hadc2) != HAL_OK)
  {
    Error_Handler();
  }
  /** Configure for the selected ADC regular channel its corresponding rank in the sequencer and its sample time.
  */
  sConfig.Channel = ADC_CHANNEL_15;
  sConfig.Rank = 1;
  sConfig.SamplingTime = ADC_SAMPLETIME_3CYCLES;
  if (HAL_ADC_ConfigChannel(&hadc2, &sConfig) != HAL_OK)
  {
    Error_Handler();
  }

}

static void MX_I2C2_Init(void)
{

  hi2c2.Instance = I2C2;
  hi2c2.Init.ClockSpeed = 100000;
  hi2c2.Init.DutyCycle = I2C_DUTYCYCLE_2;
  hi2c2.Init.OwnAddress1 = 0;
  hi2c2.Init.AddressingMode = I2C_ADDRESSINGMODE_7BIT;
  hi2c2.Init.DualAddressMode = I2C_DUALADDRESS_DISABLE;
  hi2c2.Init.OwnAddress2 = 0;
  hi2c2.Init.GeneralCallMode = I2C_GENERALCALL_DISABLE;
  hi2c2.Init.NoStretchMode = I2C_NOSTRETCH_DISABLE;
  if (HAL_I2C_Init(&hi2c2) != HAL_OK)
  {
    Error_Handler();
  }

}

static void MX_IWDG_Init(void)
{

  hiwdg.Instance = IWDG;
  hiwdg.Init.Prescaler = IWDG_PRESCALER_64;
  hiwdg.Init.Reload = 1499;
  if (HAL_IWDG_Init(&hiwdg) != HAL_OK)
  {
    Error_Handler();
  }

}

static void MX_TIM1_Init(void)
{

  TIM_MasterConfigTypeDef sMasterConfig = {0};
  TIM_OC_InitTypeDef sConfigOC = {0};
  TIM_BreakDeadTimeConfigTypeDef sBreakDeadTimeConfig = {0};

  htim1.Instance = TIM1;
  htim1.Init.Prescaler = 900-1;
  htim1.Init.CounterMode = TIM_COUNTERMODE_UP;
  htim1.Init.Period = 1000-1;
  htim1.Init.ClockDivision = TIM_CLOCKDIVISION_DIV1;
  htim1.Init.RepetitionCounter = 0;
  htim1.Init.AutoReloadPreload = TIM_AUTORELOAD_PRELOAD_DISABLE;
  if (HAL_TIM_PWM_Init(&htim1) != HAL_OK)
  {
    Error_Handler();
  }
  sMasterConfig.MasterOutputTrigger = TIM_TRGO_RESET;
  sMasterConfig.MasterSlaveMode = TIM_MASTERSLAVEMODE_DISABLE;
  if (HAL_TIMEx_MasterConfigSynchronization(&htim1, &sMasterConfig) != HAL_OK)
  {
    Error_Handler();
  }
  sConfigOC.OCMode = TIM_OCMODE_PWM1;
  sConfigOC.Pulse = 0;
  sConfigOC.OCPolarity = TIM_OCPOLARITY_HIGH;
  sConfigOC.OCNPolarity = TIM_OCNPOLARITY_HIGH;
  sConfigOC.OCFastMode = TIM_OCFAST_DISABLE;
  sConfigOC.OCIdleState = TIM_OCIDLESTATE_RESET;
  sConfigOC.OCNIdleState = TIM_OCNIDLESTATE_RESET;
  if (HAL_TIM_PWM_ConfigChannel(&htim1, &sConfigOC, TIM_CHANNEL_1) != HAL_OK)
  {
    Error_Handler();
  }
  if (HAL_TIM_PWM_ConfigChannel(&htim1, &sConfigOC, TIM_CHANNEL_2) != HAL_OK)
  {
    Error_Handler();
  }
  if (HAL_TIM_PWM_ConfigChannel(&htim1, &sConfigOC, TIM_CHANNEL_3) != HAL_OK)
  {
    Error_Handler();
  }
  sBreakDeadTimeConfig.OffStateRunMode = TIM_OSSR_DISABLE;
  sBreakDeadTimeConfig.OffStateIDLEMode = TIM_OSSI_DISABLE;
  sBreakDeadTimeConfig.LockLevel = TIM_LOCKLEVEL_OFF;
  sBreakDeadTimeConfig.DeadTime = 0;
  sBreakDeadTimeConfig.BreakState = TIM_BREAK_DISABLE;
  sBreakDeadTimeConfig.BreakPolarity = TIM_BREAKPOLARITY_HIGH;
  sBreakDeadTimeConfig.AutomaticOutput = TIM_AUTOMATICOUTPUT_DISABLE;
  if (HAL_TIMEx_ConfigBreakDeadTime(&htim1, &sBreakDeadTimeConfig) != HAL_OK)
  {
    Error_Handler();
  }
  HAL_TIM_MspPostInit(&htim1);

}

static void MX_TIM3_Init(void)
{

  TIM_MasterConfigTypeDef sMasterConfig = {0};
  TIM_OC_InitTypeDef sConfigOC = {0};

  htim3.Instance = TIM3;
  htim3.Init.Prescaler = 900-1;
  htim3.Init.CounterMode = TIM_COUNTERMODE_UP;
  htim3.Init.Period = 1000-1;
  htim3.Init.ClockDivision = TIM_CLOCKDIVISION_DIV1;
  htim3.Init.AutoReloadPreload = TIM_AUTORELOAD_PRELOAD_DISABLE;
  if (HAL_TIM_PWM_Init(&htim3) != HAL_OK)
  {
    Error_Handler();
  }
  sMasterConfig.MasterOutputTrigger = TIM_TRGO_RESET;
  sMasterConfig.MasterSlaveMode = TIM_MASTERSLAVEMODE_DISABLE;
  if (HAL_TIMEx_MasterConfigSynchronization(&htim3, &sMasterConfig) != HAL_OK)
  {
    Error_Handler();
  }
  sConfigOC.OCMode = TIM_OCMODE_PWM1;
  sConfigOC.Pulse = 0;
  sConfigOC.OCPolarity = TIM_OCPOLARITY_HIGH;
  sConfigOC.OCFastMode = TIM_OCFAST_DISABLE;
  if (HAL_TIM_PWM_ConfigChannel(&htim3, &sConfigOC, TIM_CHANNEL_4) != HAL_OK)
  {
    Error_Handler();
  }
  HAL_TIM_MspPostInit(&htim3);

}

static void MX_TIM9_Init(void)
{

  TIM_OC_InitTypeDef sConfigOC = {0};

  htim9.Instance = TIM9;
  htim9.Init.Prescaler = 692-1;
  htim9.Init.CounterMode = TIM_COUNTERMODE_UP;
  htim9.Init.Period = 255-1;
  htim9.Init.ClockDivision = TIM_CLOCKDIVISION_DIV1;
  htim9.Init.AutoReloadPreload = TIM_AUTORELOAD_PRELOAD_DISABLE;
  if (HAL_TIM_PWM_Init(&htim9) != HAL_OK)
  {
    Error_Handler();
  }
  sConfigOC.OCMode = TIM_OCMODE_PWM1;
  sConfigOC.Pulse = 0;
  sConfigOC.OCPolarity = TIM_OCPOLARITY_HIGH;
  sConfigOC.OCFastMode = TIM_OCFAST_DISABLE;
  if (HAL_TIM_PWM_ConfigChannel(&htim9, &sConfigOC, TIM_CHANNEL_1) != HAL_OK)
  {
    Error_Handler();
  }
  HAL_TIM_MspPostInit(&htim9);

}

static void MX_USART1_UART_Init(void)
{

  huart1.Instance = USART1;
  huart1.Init.BaudRate = 115200;
  huart1.Init.WordLength = UART_WORDLENGTH_8B;
  huart1.Init.StopBits = UART_STOPBITS_1;
  huart1.Init.Parity = UART_PARITY_NONE;
  huart1.Init.Mode = UART_MODE_TX_RX;
  huart1.Init.HwFlowCtl = UART_HWCONTROL_NONE;
  huart1.Init.OverSampling = UART_OVERSAMPLING_16;
  if (HAL_UART_Init(&huart1) != HAL_OK)
  {
    Error_Handler();
  }

}

static void MX_USART6_UART_Init(void)
{

  huart6.Instance = USART6;
  huart6.Init.BaudRate = 115200;
  huart6.Init.WordLength = UART_WORDLENGTH_8B;
  huart6.Init.StopBits = UART_STOPBITS_1;
  huart6.Init.Parity = UART_PARITY_NONE;
  huart6.Init.Mode = UART_MODE_TX_RX;
  huart6.Init.HwFlowCtl = UART_HWCONTROL_NONE;
  huart6.Init.OverSampling = UART_OVERSAMPLING_16;
  if (HAL_UART_Init(&huart6) != HAL_OK)
  {
    Error_Handler();
  }

}

static void MX_GPIO_Init(void)
{
  GPIO_InitTypeDef GPIO_InitStruct = {0};

  /* GPIO Ports Clock Enable */
  __HAL_RCC_GPIOE_CLK_ENABLE();
  __HAL_RCC_GPIOH_CLK_ENABLE();
  __HAL_RCC_GPIOC_CLK_ENABLE();
  __HAL_RCC_GPIOA_CLK_ENABLE();
  __HAL_RCC_GPIOB_CLK_ENABLE();
  __HAL_RCC_GPIOD_CLK_ENABLE();

  /*Configure GPIO pin Output Level */
  HAL_GPIO_WritePin(GPIOC, GPIO_PIN_0|GPIO_PIN_2|GPIO_PIN_4, GPIO_PIN_RESET);

  /*Configure GPIO pin Output Level */
  HAL_GPIO_WritePin(GPIOA, GPIO_PIN_0|GPIO_PIN_2|GPIO_PIN_4|GPIO_PIN_6, GPIO_PIN_RESET);

  /*Configure GPIO pin Output Level */
  HAL_GPIO_WritePin(GPIOD, GPIO_PIN_12|GPIO_PIN_13|GPIO_PIN_14|GPIO_PIN_15
                          |GPIO_PIN_4|GPIO_PIN_6, GPIO_PIN_RESET);

  /*Configure GPIO pin Output Level */
  HAL_GPIO_WritePin(GPIOB, GPIO_PIN_3|GPIO_PIN_5, GPIO_PIN_RESET);

  /*Configure GPIO pins : PC0 PC2 PC4 */
  GPIO_InitStruct.Pin = GPIO_PIN_0|GPIO_PIN_2|GPIO_PIN_4;
  GPIO_InitStruct.Mode = GPIO_MODE_OUTPUT_PP;
  GPIO_InitStruct.Pull = GPIO_NOPULL;
  GPIO_InitStruct.Speed = GPIO_SPEED_FREQ_LOW;
  HAL_GPIO_Init(GPIOC, &GPIO_InitStruct);

  /*Configure GPIO pins : PA0 PA2 PA4 PA6 */
  GPIO_InitStruct.Pin = GPIO_PIN_0|GPIO_PIN_2|GPIO_PIN_4|GPIO_PIN_6;
  GPIO_InitStruct.Mode = GPIO_MODE_OUTPUT_PP;
  GPIO_InitStruct.Pull = GPIO_NOPULL;
  GPIO_InitStruct.Speed = GPIO_SPEED_FREQ_LOW;
  HAL_GPIO_Init(GPIOA, &GPIO_InitStruct);

  /*Configure GPIO pins : PA1 PA3 PA5 PA7 */
  GPIO_InitStruct.Pin = GPIO_PIN_1|GPIO_PIN_3|GPIO_PIN_5|GPIO_PIN_7;
  GPIO_InitStruct.Mode = GPIO_MODE_INPUT;
  GPIO_InitStruct.Pull = GPIO_NOPULL;
  HAL_GPIO_Init(GPIOA, &GPIO_InitStruct);

  /*Configure GPIO pin : PE15 */
  GPIO_InitStruct.Pin = GPIO_PIN_15;
  GPIO_InitStruct.Mode = GPIO_MODE_INPUT;
  GPIO_InitStruct.Pull = GPIO_NOPULL;
  HAL_GPIO_Init(GPIOE, &GPIO_InitStruct);

  /*Configure GPIO pins : PB13 PB15 */
  GPIO_InitStruct.Pin = GPIO_PIN_13|GPIO_PIN_15;
  GPIO_InitStruct.Mode = GPIO_MODE_INPUT;
  GPIO_InitStruct.Pull = GPIO_NOPULL;
  HAL_GPIO_Init(GPIOB, &GPIO_InitStruct);

  /*Configure GPIO pins : PD12 PD13 PD14 PD15
                           PD4 PD6 */
  GPIO_InitStruct.Pin = GPIO_PIN_12|GPIO_PIN_13|GPIO_PIN_14|GPIO_PIN_15
                          |GPIO_PIN_4|GPIO_PIN_6;
  GPIO_InitStruct.Mode = GPIO_MODE_OUTPUT_PP;
  GPIO_InitStruct.Pull = GPIO_NOPULL;
  GPIO_InitStruct.Speed = GPIO_SPEED_FREQ_LOW;
  HAL_GPIO_Init(GPIOD, &GPIO_InitStruct);

  /*Configure GPIO pin : PA15 */
  GPIO_InitStruct.Pin = GPIO_PIN_15;
  GPIO_InitStruct.Mode = GPIO_MODE_INPUT;
  GPIO_InitStruct.Pull = GPIO_PULLUP;
  HAL_GPIO_Init(GPIOA, &GPIO_InitStruct);

  /*Configure GPIO pin : PC11 */
  GPIO_InitStruct.Pin = GPIO_PIN_11;
  GPIO_InitStruct.Mode = GPIO_MODE_INPUT;
  GPIO_InitStruct.Pull = GPIO_PULLUP;
  HAL_GPIO_Init(GPIOC, &GPIO_InitStruct);

  /*Configure GPIO pins : PD0 PD2 */
  GPIO_InitStruct.Pin = GPIO_PIN_0|GPIO_PIN_2;
  GPIO_InitStruct.Mode = GPIO_MODE_INPUT;
  GPIO_InitStruct.Pull = GPIO_PULLUP;
  HAL_GPIO_Init(GPIOD, &GPIO_InitStruct);

  /*Configure GPIO pins : PB3 PB5 */
  GPIO_InitStruct.Pin = GPIO_PIN_3|GPIO_PIN_5;
  GPIO_InitStruct.Mode = GPIO_MODE_OUTPUT_PP;
  GPIO_InitStruct.Pull = GPIO_NOPULL;
  GPIO_InitStruct.Speed = GPIO_SPEED_FREQ_LOW;
  HAL_GPIO_Init(GPIOB, &GPIO_InitStruct);

}

void StartDefaultTask(void *argument)
{
  /* USER CODE BEGIN 5 */
  /* Infinite loop */
  for(;;)
  {
		control_home();
		HAL_IWDG_Refresh(&hiwdg);
    osDelay(1);
  }
  /* USER CODE END 5 */
}

void StartTask02Function(void *argument)
{
  /* USER CODE BEGIN StartTask02Function */
  /* Infinite loop */
  for(;;)
  {
		if(HAL_GetTick() - timeout_to_send_dht11value >= 30000){
			DHT11_Init();
			read_DHT11(data_dht11);
			sprintf(data_dht11_char,"DHT11 %d.%d %d.%d",data_dht11[2],data_dht11[3],data_dht11[0],data_dht11[1]);
			serial_send_cmd(data_dht11_char);
			HAL_Delay(100);
			timeout_to_send_dht11value = HAL_GetTick();
		}

		if(HAL_GetTick() - timeout_to_send_gasvalue >= 20000){
			gas_in_ppm = read_gas_ppm();
			snprintf(data_GAS_char,sizeof(data_GAS_char),"GAS %4.2f",gas_in_ppm);
			serial_send_cmd(data_GAS_char);
			HAL_Delay(100);
			if(gas_in_ppm >= 10){
				music_play(500);
				HAL_Delay(200);
				music_play(650);
				HAL_Delay(200);
			}
			else{
				music_stop();
			}
			timeout_to_send_gasvalue = HAL_GetTick();
		}

    osDelay(1);
  }
  /* USER CODE END StartTask02Function */
}

void StartTask03Function(void *argument)
{
  for(;;)
  {
    osDelay(1);
  }
}

void StartTask04Function(void *argument)
{
  /* USER CODE BEGIN StartTask04Function */
  /* Infinite loop */
  for(;;)
  {
		automation_home();
		if(HAL_GetTick() - timeout_to_send_pirvalue >= 5500){
			strcpy(data_PIR_char,read_pir_char());
			serial_send_cmd(data_PIR_char);
			HAL_Delay(100);

			timeout_to_send_pirvalue = HAL_GetTick();
		}

		if(HAL_GetTick() - timeout_to_send_rainvalue >= 7500){
			strcpy(data_RAIN_char,read_rain_char());

			serial_send_cmd(data_RAIN_char);
			HAL_Delay(100);

			timeout_to_send_rainvalue = HAL_GetTick();
		}

		if(HAL_GetTick() - timeout_to_send_flamevalue >= 4500){
			strcpy(data_FLAME_char,read_flame_char());
			serial_send_cmd(data_FLAME_char);
			HAL_Delay(100);

			timeout_to_send_flamevalue = HAL_GetTick();
		}

    osDelay(1);
  }
  /* USER CODE END StartTask04Function */
}

void StartTask05Function(void *argument)
{
  /* USER CODE BEGIN StartTask05Function */
  /* Infinite loop */
  for(;;)
  {
		receive_password_from_firebase();

		verify_password();
		function_key = read_keypad();
		HAL_Delay(5);
		if(function_key == 'B'){
			change_password();
		}
    osDelay(30);
  }
  /* USER CODE END StartTask05Function */
}

void StartTask06Function(void *argument)
{
  /* USER CODE BEGIN StartTask06Function */
  /* Infinite loop */
  for(;;)
  {
		if(HAL_GetTick() - timeout_to_send_hallvalue >= 3500){
			current_value_main = read_Current();
			if(current_value_main >=100){
				snprintf(data_HALL_char,sizeof(data_HALL_char),"HALL 1");
				serial_send_cmd(data_HALL_char);
				HAL_Delay(100);
			}else{
				snprintf(data_HALL_char,sizeof(data_HALL_char),"HALL 0");
				serial_send_cmd(data_HALL_char);
				HAL_Delay(100);
			}

			timeout_to_send_hallvalue = HAL_GetTick();
		}
    osDelay(15);
  }
  /* USER CODE END StartTask06Function */
}

 /**
  * @brief  Period elapsed callback in non blocking mode
  * @note   This function is called  when TIM10 interrupt took place, inside
  * HAL_TIM_IRQHandler(). It makes a direct call to HAL_IncTick() to increment
  * a global variable "uwTick" used as application time base.
  * @param  htim : TIM handle
  * @retval None
  */
void HAL_TIM_PeriodElapsedCallback(TIM_HandleTypeDef *htim)
{
  if (htim->Instance == TIM10) {
    HAL_IncTick();
  }
}

void Error_Handler(void)
{
}

/************************ (C) COPYRIGHT STMicroelectronics *****END OF FILE****/
